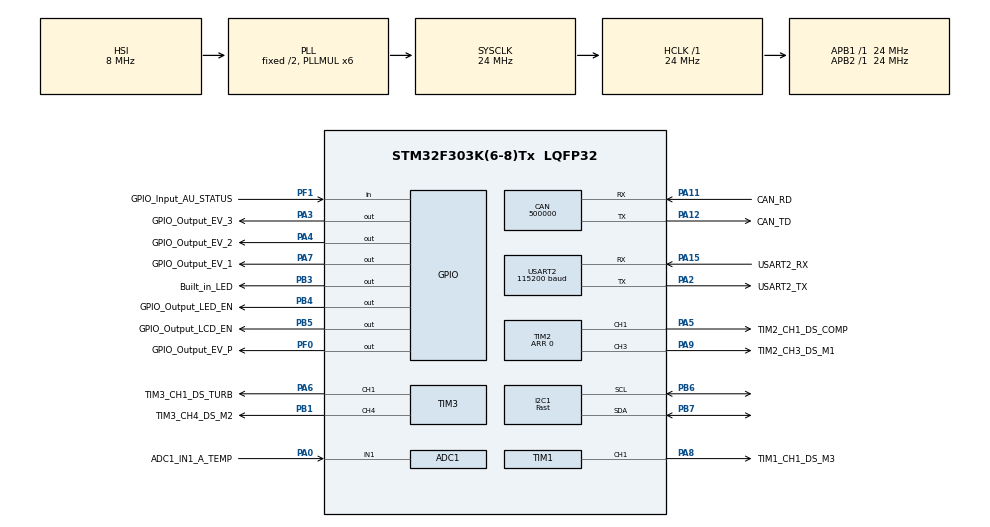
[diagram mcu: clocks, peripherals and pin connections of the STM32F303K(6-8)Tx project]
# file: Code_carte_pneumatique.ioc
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ADC1.Channel-0\#ChannelRegularConversion=ADC_CHANNEL_1
ADC1.NbrOfConversionFlag=1
ADC1.Offset-0\#ChannelRegularConversion=0
ADC1.OffsetNumber-0\#ChannelRegularConversion=ADC_OFFSET_NONE
ADC1.Rank-0\#ChannelRegularConversion=1
ADC1.SamplingTime-0\#ChannelRegularConversion=ADC_SAMPLETIME_1CYCLE_5
ADC1.SamplingTimeOPAMP-0\#ChannelRegularConversion=ADC_SAMPLETIME_19CYCLES_5
ADC1.SubFamily=STM32F303x8
ADC1.master=1
CAN.CalculateBaudRate=500000
CAN.CalculateTimeBit=2000
CAN.CalculateTimeQuantum=666.6666666666666
Dma.Request0=TIM2_CH1
Dma.Request1=TIM2_CH3
Dma.Request2=TIM3_CH1/TRIG
Dma.Request3=TIM3_CH4/UP
Dma.Request4=TIM1_CH1
Dma.TIM1_CH1.4.Direction=DMA_MEMORY_TO_PERIPH
Dma.TIM1_CH1.4.Instance=DMA1_Channel2
Dma.TIM1_CH1.4.MemDataAlignment=DMA_MDATAALIGN_WORD
Dma.TIM1_CH1.4.MemInc=DMA_MINC_ENABLE
Dma.TIM1_CH1.4.Mode=DMA_NORMAL
Dma.TIM1_CH1.4.PeriphDataAlignment=DMA_PDATAALIGN_HALFWORD
Dma.TIM1_CH1.4.PeriphInc=DMA_PINC_DISABLE
Dma.TIM1_CH1.4.Priority=DMA_PRIORITY_HIGH
Dma.TIM2_CH1.0.Direction=DMA_MEMORY_TO_PERIPH
Dma.TIM2_CH1.0.Instance=DMA1_Channel5
Dma.TIM2_CH1.0.MemDataAlignment=DMA_MDATAALIGN_WORD
Dma.TIM2_CH1.0.MemInc=DMA_MINC_ENABLE
Dma.TIM2_CH1.0.Mode=DMA_NORMAL
Dma.TIM2_CH1.0.PeriphDataAlignment=DMA_PDATAALIGN_WORD
Dma.TIM2_CH1.0.PeriphInc=DMA_PINC_DISABLE
Dma.TIM2_CH1.0.Priority=DMA_PRIORITY_HIGH
Dma.TIM2_CH3.1.Direction=DMA_MEMORY_TO_PERIPH
Dma.TIM2_CH3.1.Instance=DMA1_Channel1
Dma.TIM2_CH3.1.MemDataAlignment=DMA_MDATAALIGN_WORD
Dma.TIM2_CH3.1.MemInc=DMA_MINC_ENABLE
Dma.TIM2_CH3.1.Mode=DMA_NORMAL
Dma.TIM2_CH3.1.PeriphDataAlignment=DMA_PDATAALIGN_WORD
Dma.TIM2_CH3.1.PeriphInc=DMA_PINC_DISABLE
Dma.TIM2_CH3.1.Priority=DMA_PRIORITY_HIGH
Dma.TIM3_CH1/TRIG.2.Direction=DMA_MEMORY_TO_PERIPH
Dma.TIM3_CH1/TRIG.2.Instance=DMA1_Channel6
Dma.TIM3_CH1/TRIG.2.MemDataAlignment=DMA_MDATAALIGN_WORD
Dma.TIM3_CH1/TRIG.2.MemInc=DMA_MINC_ENABLE
Dma.TIM3_CH1/TRIG.2.Mode=DMA_NORMAL
Dma.TIM3_CH1/TRIG.2.PeriphDataAlignment=DMA_PDATAALIGN_HALFWORD
Dma.TIM3_CH1/TRIG.2.PeriphInc=DMA_PINC_DISABLE
Dma.TIM3_CH1/TRIG.2.Priority=DMA_PRIORITY_HIGH
Dma.TIM3_CH4/UP.3.Direction=DMA_MEMORY_TO_PERIPH
Dma.TIM3_CH4/UP.3.Instance=DMA1_Channel3
Dma.TIM3_CH4/UP.3.MemDataAlignment=DMA_MDATAALIGN_WORD
Dma.TIM3_CH4/UP.3.MemInc=DMA_MINC_ENABLE
Dma.TIM3_CH4/UP.3.Mode=DMA_NORMAL
Dma.TIM3_CH4/UP.3.PeriphDataAlignment=DMA_PDATAALIGN_HALFWORD
Dma.TIM3_CH4/UP.3.PeriphInc=DMA_PINC_DISABLE
Dma.TIM3_CH4/UP.3.Priority=DMA_PRIORITY_HIGH
I2C1.Analog_Filter=I2C_ANALOGFILTER_DISABLE
I2C1.I2C_Speed_Mode=I2C_Fast
I2C1.Timing=0x0000020C
Mcu.Family=STM32F3
Mcu.Name=STM32F303K(6-8)Tx
Mcu.Package=LQFP32
NVIC.DMA1_Channel1_IRQn=true\:0\:0\:false\:false\:true\:false\:true\:true
NVIC.DMA1_Channel2_IRQn=true\:0\:0\:false\:false\:true\:false\:true\:true
NVIC.DMA1_Channel3_IRQn=true\:0\:0\:false\:false\:true\:false\:true\:true
NVIC.DMA1_Channel5_IRQn=true\:0\:0\:false\:false\:true\:false\:true\:true
NVIC.DMA1_Channel6_IRQn=true\:0\:0\:false\:false\:true\:false\:true\:true
NVIC.PriorityGroup=NVIC_PRIORITYGROUP_4
NVIC.TIM6_DAC1_IRQn=true\:0\:0\:false\:false\:true\:true\:true\:true
NVIC.USART2_IRQn=true\:0\:0\:false\:false\:true\:true\:true\:true
PA0.GPIO_Label=ADC1_IN1_A_TEMP
PA0.Mode=IN1-Single-Ended
PA0.Signal=ADC1_IN1
PA1.GPIO_Label=ADC2_IN_A_PRESS
PA1.Signal=ADC1_IN2
PA11.GPIO_Label=CAN_RD
PA11.Mode=CAN_Activate
PA11.Signal=CAN_RX
PA12.GPIO_Label=CAN_TD
PA12.Mode=CAN_Activate
PA12.Signal=CAN_TX
PA13.GPIO_Label=SWDIO
PA13.Mode=Serial_Wire
PA13.Signal=SYS_JTMS-SWDIO
PA14.GPIO_Label=SWCLK
PA14.Mode=Serial_Wire
PA14.Signal=SYS_JTCK-SWCLK
PA15.GPIO_Label=USART2_RX
PA15.Mode=Asynchronous
PA15.Signal=USART2_RX
PA2.GPIO_Label=USART2_TX
PA2.Mode=Asynchronous
PA2.Signal=USART2_TX
PA3.GPIO_Label=GPIO_Output_EV_3
PA3.Signal=GPIO_Output
PA4.GPIO_Label=GPIO_Output_EV_2
PA4.Signal=GPIO_Output
PA5.GPIO_Label=TIM2_CH1_DS_COMP
PA5.Signal=S_TIM2_CH1_ETR
PA6.GPIO_Label=TIM3_CH1_DS_TURB
PA6.Signal=S_TIM3_CH1
PA7.GPIO_Label=GPIO_Output_EV_1
PA7.Signal=GPIO_Output
PA8.GPIO_Label=TIM1_CH1_DS_M3
PA8.Signal=S_TIM1_CH1
PA9.GPIO_Label=TIM2_CH3_DS_M1
PA9.Signal=S_TIM2_CH3
PB1.GPIO_Label=TIM3_CH4_DS_M2
PB1.Signal=S_TIM3_CH4
PB3.GPIO_Label=Built_in_LED
PB3.Signal=GPIO_Output
PB4.GPIO_Label=GPIO_Output_LED_EN
PB4.Signal=GPIO_Output
PB5.GPIO_Label=GPIO_Output_LCD_EN
PB5.Signal=GPIO_Output
PB6.GPIO_FM6=SYSCFG_CFGR1_I2C_PB6_FMP
PB6.GPIO_Pu=GPIO_NOPULL
PB6.Mode=I2C
PB6.Signal=I2C1_SCL
PB7.GPIO_FM7=SYSCFG_CFGR1_I2C_PB7_FMP
PB7.GPIO_Pu=GPIO_NOPULL
PB7.Mode=I2C
PB7.Signal=I2C1_SDA
PF0\ /\ OSC_IN.GPIO_Label=GPIO_Output_EV_P
PF0\ /\ OSC_IN.Signal=GPIO_Output
PF1\ /\ OSC_OUT.GPIO_Label=GPIO_Input_AU_STATUS
PF1\ /\ OSC_OUT.Signal=GPIO_Input
ProjectManager.HeapSize=0x200
ProjectManager.StackSize=0x400
ProjectManager.TargetToolchain=STM32CubeIDE
RCC.AHBFreq_Value=24000000
RCC.APB1Freq_Value=24000000
RCC.APB1TimFreq_Value=24000000
RCC.APB2Freq_Value=24000000
RCC.APB2TimFreq_Value=24000000
RCC.CortexFreq_Value=24000000
RCC.HCLKFreq_Value=24000000
RCC.HSE_VALUE=8000000
RCC.HSI_VALUE=8000000
RCC.PLLMUL=RCC_PLL_MUL6
RCC.SYSCLKFreq_VALUE=24000000
RCC.SYSCLKSourceVirtual=RCC_SYSCLKSOURCE_PLLCLK
SH.S_TIM1_CH1.0=TIM1_CH1,PWM Generation1 CH1
SH.S_TIM2_CH1_ETR.0=TIM2_CH1,PWM Generation1 CH1
SH.S_TIM2_CH3.0=TIM2_CH3,PWM Generation3 CH3
SH.S_TIM3_CH1.0=TIM3_CH1,PWM Generation1 CH1
SH.S_TIM3_CH4.0=TIM3_CH4,PWM Generation4 CH4
TIM1.Channel-PWM\ Generation1\ CH1=TIM_CHANNEL_1
TIM2.Channel-PWM\ Generation1\ CH1=TIM_CHANNEL_1
TIM2.Channel-PWM\ Generation3\ CH3=TIM_CHANNEL_3
TIM2.Period=0
TIM3.Channel-PWM\ Generation1\ CH1=TIM_CHANNEL_1
TIM3.Channel-PWM\ Generation4\ CH4=TIM_CHANNEL_4
TIM6.Period=24
TIM6.Prescaler=1000
USART2.BaudRate=115200
USART2.VirtualMode-Asynchronous=VM_ASYNC
VP_TIM6_VS_ClockSourceINT.Mode=Enable_Timer
board=NUCLEO-F303K8

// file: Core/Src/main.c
/* USER CODE BEGIN Header */
/**
 ******************************************************************************
 * @file           : main.c
 * @brief          : Main program body
 ******************************************************************************
 * @attention
 *
 * Copyright (c) 2023 STMicroelectronics.
 * All rights reserved.
 *
 * This software is licensed under terms that can be found in the LICENSE file
 * in the root directory of this software component.
 * If no LICENSE file comes with this software, it is provided AS-IS.
 *
 ******************************************************************************
 */
/* USER CODE END Header */
#include "main.h"

/* USER CODE BEGIN Includes */
#include "dshot.h"
/* USER CODE END Includes */

/* USER CODE BEGIN PM */

//Partie moteurs (D-Shot)
#define CANONS_SPEED_1 100
#define CANONS_SPEED_2 300
#define CANONS_SPEED_3 400
#define TURBINE_SPEED_1 100
#define TURBINE_SPEED_2 300
#define TURBINE_SPEED_3 400
#define COMPRESSOR_SPEED 1200
//DSHOT_SPEED effet : change le bitrate du protocole D-Shot (jamais teste autre que 150=150kbits/s)
//autres valeurs existantes : 300, 600, 1200, voir Carte_pneumatique > TOOLS-DOCUMENTATION > DOC >
#define DSHOT_SPEED DSHOT150
//Compresseur : pour le Stop et le start
uint8_t COMPRESSOR_ENABLE = 0;

//Partie Pression
//size of pressure values history buffer : effet : change proportionnellement la rapidite de reponse du moteur du compresseur
#define PRESSURES_SIZE 10
// effet : change la pression de Commande initiale (avant 1ere commande compresseur)
uint8_t Press_order = 0; //en 10e de bar

//Partie electrovannes
#define PULSE_TIME 60 //valeur du pulse des EV (ms)
uint8_t last_EV_command = 0;

//Partie Capteur de Temperature
#define COMPR_CRIT_TEMP 60 //a modifier en fonction du systeme (position de la sonde PT100)
#define TEMPERATURES_SIZE 10

//Partie timer global pour tempo AU => purge
int BAU_tick;
uint8_t BAU_tick_enable = 0;

//Partie Prematch et premiere init, a suppr quand pneuma faite
uint8_t prematch_init = 0;

//Partie commandes et retours Rpi
//On teste un ring buffer
#define RING_BUF_SIZE 25
uint8_t r_buf_length;
uint8_t write_index;
uint8_t read_index;

uint8_t commands_buffer[RING_BUF_SIZE];

void write_r_buffer(uint8_t * r_buf, uint8_t command){
	if (r_buf_length == RING_BUF_SIZE){}
	else {
		r_buf[write_index] = command;
		write_index++;
		r_buf_length++;
	}
	if (write_index == RING_BUF_SIZE){
		write_index = 0;
	}
}

uint8_t read_r_buffer(uint8_t * r_buf){
	uint8_t val;
	if (r_buf_length == 0){return -1;}
	else {
		val = r_buf[read_index];
		read_index++;
		r_buf_length--;
	}
	if (read_index == RING_BUF_SIZE){
		read_index = 0;
	}
	return val;
}

uint8_t command_buffer = 0; // Signal commande Rpi -> Nucleo, pas de log pour l'instant donc taille de 1
uint8_t return_buffer[2]; //infos retournee Nucleo -> Rpi
HAL_StatusTypeDef res1;
HAL_StatusTypeDef res2;

/* USER CODE END PM */

ADC_HandleTypeDef hadc1;

CAN_HandleTypeDef hcan;

I2C_HandleTypeDef hi2c1;

TIM_HandleTypeDef htim1;
TIM_HandleTypeDef htim2;
TIM_HandleTypeDef htim3;
TIM_HandleTypeDef htim6;
DMA_HandleTypeDef hdma_tim1_ch1;
DMA_HandleTypeDef hdma_tim2_ch1;
DMA_HandleTypeDef hdma_tim2_ch3;
DMA_HandleTypeDef hdma_tim3_ch1_trig;
DMA_HandleTypeDef hdma_tim3_ch4_up;

UART_HandleTypeDef huart2;

void SystemClock_Config(void);
static void MX_GPIO_Init(void);
static void MX_DMA_Init(void);
static void MX_USART2_UART_Init(void);
static void MX_TIM2_Init(void);
static void MX_TIM6_Init(void);
static void MX_TIM3_Init(void);
static void MX_TIM1_Init(void);
static void MX_I2C1_Init(void);
static void MX_CAN_Init(void);
static void MX_ADC1_Init(void);

/* USER CODE BEGIN 0 */

//Partie D-Shot
uint16_t my_motor_value[5] = {0, 0, 0, 0, 0};

//Partie UART en interrupt
void HAL_UART_RxCpltCallback(UART_HandleTypeDef *huart)
{
	write_r_buffer(commands_buffer, command_buffer);
	res1=HAL_UART_Receive_IT(&huart2, &command_buffer, 1);
}

/* USER CODE END 0 */

int main(void)
{
  /* USER CODE BEGIN 1 */

	//Partie lecture des capteurs
	uint8_t I2C_buf[4]; //Infos I2C : P_sensor (4 bytes) ou T_sensor_Comp (?? bytes)
	// uint8_t p_buf[4]; //Pression P_sensor (2 bytes) et temperature P_sensor (2 bytes)
	//garder les logs des commandes

	//partie Capteur de Pression
	//modele : 2513130810401
	float pressure_val;
	//SENP:  Pressure sensor sensitivity : 4.196 ×10-2
	float SENP = 0.04196;
	//PMIN: Min Pressure output : -100 kPa
	int Pmin = -100;
	//OUTP_MIN: digital output at Pmin = 3277
	float OUT_Pmin = 3277;
	//P15bit = PH & PL
	float P15bit;
	//tableaux des 100 dernieres valeurs de pression, toutes les valeurs initialisees a 0
	uint8_t pressures[PRESSURES_SIZE] = {0};
	//valeur pour remplir le tableau des valeurs de pressions avant de calculer la moyennes des pressions
	uint32_t pressures_mean = 0;

	//Partie capteur de temperature du compresseur
	uint16_t raw;
	float compr_temp;
	uint8_t temperatures[TEMPERATURES_SIZE] = {0};
	uint8_t temperatures_mean = 0;

	// explication de la conversion des valeurs de l'ADC en temperature
	// dans le fichier "Equation_Sonde_PT100, il y a 2 courbes, ces coeffs sont respectivement les pentes et les ordonnees a l'origine
	// raw = valeur numerique renvoyee par l'ADC
	// methode de calibration sonde PT100 : mesure resistance et raw a 22°   &   mesure resistance et raw a 100° (pistolet a air chaud devant la PT100)
	float raw_to_res_mult = 0.0393;
	float raw_to_res_offset = -2.47;
	float res_to_temp_mult = -0.74;
	float res_to_temp_offset = 104;

	//Partie Arrêt d'urgence
	uint8_t AU_Current_Status = GPIO_PIN_RESET;
	uint8_t AU_Old_Status = GPIO_PIN_RESET;

  /* USER CODE END 1 */

  /* MCU Configuration--------------------------------------------------------*/

  /* Reset of all peripherals, Initializes the Flash interface and the Systick. */
  HAL_Init();

  /* Configure the system clock */
  SystemClock_Config();

  /* Initialize all configured peripherals */
  MX_GPIO_Init();
  MX_DMA_Init();
  MX_USART2_UART_Init();
  MX_TIM2_Init();
  MX_TIM6_Init();
  MX_TIM3_Init();
  MX_TIM1_Init();
  MX_I2C1_Init();
  MX_CAN_Init();
  MX_ADC1_Init();
  /* USER CODE BEGIN 2 */

	dshot_init(DSHOT_SPEED);
	//Initialization Des ESC des moteurs ET TOUT LE RESTE
	my_motor_value[0] = 0;
	my_motor_value[1] = 0;
	my_motor_value[2] = 0;
	my_motor_value[3] = 0;
	my_motor_value[4] = 0;
	HAL_GPIO_WritePin(GPIOA, GPIO_PIN_7, GPIO_PIN_RESET);
	HAL_GPIO_WritePin(GPIOA, GPIO_PIN_4, GPIO_PIN_RESET);
	HAL_GPIO_WritePin(GPIOA, GPIO_PIN_3, GPIO_PIN_RESET);
	HAL_GPIO_WritePin(GPIOF, GPIO_PIN_0, GPIO_PIN_RESET);
	//start to count (for tim6 interruption)
	HAL_TIM_Base_Start_IT(&htim6);
	//a peu pres temps minimal de delay pour laisser le temps aux moteurs de s'initialiser
	HAL_Delay(2600);
	//On lance l'interruption sur l'UART2, a relancer dans le callback !
	res1=HAL_UART_Receive_IT(&huart2, &command_buffer, 1);

  /* USER CODE END 2 */

  /* Infinite loop */
  /* USER CODE BEGIN WHILE */
	while (1)
	{
		//Partie AU : recuperation du state de l'AU
		AU_Current_Status = HAL_GPIO_ReadPin(GPIOF, GPIO_PIN_1);

		//res1=HAL_UART_Receive(&huart2, &command_buffer, 1, 100);

		//Partie Reset_small : Reset de tout lorsque l'AU repasse a l'etat haut (non coupe) alors qu'il etait a l'etat bas (coupe) juste avant
		if ((AU_Current_Status == GPIO_PIN_RESET) && AU_Old_Status == GPIO_PIN_SET){
			// arrêt moteurs (compr, canons, turbine)
			my_motor_value[0] = 0;
			my_motor_value[1] = 0;
			my_motor_value[2] = 0;
			my_motor_value[3] = 0;
			my_motor_value[4] = 0;
			HAL_Delay(2600);
			// arrêt EV 1, 2, 3 et Purge
			HAL_GPIO_WritePin(GPIOA, GPIO_PIN_7, GPIO_PIN_RESET);
			HAL_GPIO_WritePin(GPIOA, GPIO_PIN_4, GPIO_PIN_RESET);
			HAL_GPIO_WritePin(GPIOA, GPIO_PIN_3, GPIO_PIN_RESET);
			HAL_GPIO_WritePin(GPIOF, GPIO_PIN_0, GPIO_PIN_RESET);
			// arrêt LCD et LED Enable
			//HAL_GPIO_WritePin(GPIOB, GPIO_PIN_5, GPIO_PIN_RESET); commente car LCD pulse, a voir si c'est la source du probleme
			//HAL_GPIO_WritePin(GPIOB, GPIO_PIN_4, GPIO_PIN_RESET); commente car LED pulsent, a voir si c'est la source du probeme
			// reset la regulation de pression
			Press_order = 0;
			//reset le timer de purge
			BAU_tick = 0;
			BAU_tick_enable = 0;
		}

		//Partie Reset_Full : Si l'AU passe a l'etat bas (coupe) alors qu'il etait a l'etat haut (non coupe), reset tout et lancer un timer de 2 minutes, au bout duquel on purge !
		if (AU_Current_Status == GPIO_PIN_SET && AU_Old_Status == GPIO_PIN_RESET){
			// arrêt moteurs (compr, canons, turbine)
			my_motor_value[0] = 0;
			my_motor_value[1] = 0;
			my_motor_value[2] = 0;
			my_motor_value[3] = 0;
			my_motor_value[4] = 0;
			// arrêt EV 1, 2, 3 et Purge
			HAL_GPIO_WritePin(GPIOA, GPIO_PIN_7, GPIO_PIN_RESET);
			HAL_GPIO_WritePin(GPIOA, GPIO_PIN_4, GPIO_PIN_RESET);
			HAL_GPIO_WritePin(GPIOA, GPIO_PIN_3, GPIO_PIN_RESET);
			HAL_GPIO_WritePin(GPIOF, GPIO_PIN_0, GPIO_PIN_RESET);
			// arrêt LCD et LED Enable
			HAL_GPIO_WritePin(GPIOB, GPIO_PIN_5, GPIO_PIN_RESET);
			HAL_GPIO_WritePin(GPIOB, GPIO_PIN_4, GPIO_PIN_RESET);
			// reset la regulation de pression
			Press_order = 0;
			// tempo de 2 min, puis purge
			BAU_tick_enable = 1;
		}
		//changer les valeurs des AU status
		AU_Old_Status = AU_Current_Status;

		//Lecture de la pression en I2C et activation OU NON du compresseur en fonction
		res2 = HAL_I2C_Master_Receive(&hi2c1, 0xf1, I2C_buf, 4, 200);
		if (res2 == HAL_OK){
			//Regulation Pression
			//Calcul de la pression en 10emes de bar RELATIFS
			//voir infos_pressure_sensor plus haut pour infos sur variables
			P15bit = (int)((I2C_buf[0] << 8)|I2C_buf[1]);
			//formule d'apres la datasheet du capteur : pressure_val = [(P15bit - OUTP_MIN)*SENP)] + PMIN;
			//Conversion en 10emes de bar a la fin
			pressure_val = P15bit - OUT_Pmin; //2383
			pressure_val = pressure_val*SENP; //99.99068
			pressure_val = pressure_val + Pmin; // -0,00932
			pressure_val = pressure_val * 0.1; // -0,000932

			//calcul de la moyenne de toutes les pressions precedentes
			//on decale tout le tableau vers la droite, en faisant donc disparaître la valeur la plus ancienne
			for (int i = PRESSURES_SIZE-1; i > 0; i--){
				pressures[i] = pressures[i-1];
			}
			//On ajoute la nouvelle valeure
			pressures[0] = (int)pressure_val;

			//puis on fait la moyenne des pressions
			for (int i = 0; i < PRESSURES_SIZE; i++){
				pressures_mean+=pressures[i];
			}
			pressures_mean/=PRESSURES_SIZE;

			if (pressures_mean > (Press_order)){ // arrêter compresseur si depassement de la pression de consigne
				my_motor_value[4] = 0;
			}
			else if (pressures_mean < (Press_order - 2)) { // demarrage compresseur avec hysteresis de 0.2 bar
				if(Press_order >= 0 && COMPRESSOR_ENABLE){
					my_motor_value[4] = COMPRESSOR_SPEED;
				}
				else {}
			}
			else {}

			//on remet a 0 la moyenne des pressions
			pressures_mean = 0;
		}

		//Lecture Temperature du compresseur reservoir (sonde PT100) et activation ou desactivation du compresseur en fonction SSI il est pas deja desactive
		//start an ADC conversion
		HAL_ADC_Start(&hadc1);
		//processor waits for an ADC conversion to complete
		HAL_ADC_PollForConversion(&hadc1, HAL_MAX_DELAY);
		//get raw value from the ADC channel register
		raw = HAL_ADC_GetValue(&hadc1);

		//get temperature value from raw value (100-Ohm = 0°C, 375-Ohm = 800°C)
		//first : conversion from raw value to resistance value : 2790=>112 kOhm, 90=>6 kOhm
		//then : conversion from resistance value to temperature value :  112 kOhm=>22 °c, 6 kOhm=>100°c
		compr_temp = res_to_temp_mult * (raw_to_res_mult * raw + raw_to_res_offset) + res_to_temp_offset;

		//si Temperature critique, arrêter le compresseur et notifier la temperature critique dans le retour a la Rpi
		//on decale tout le tableau vers la droite, en faisant donc disparaître la valeur la plus ancienne
		for (int i = TEMPERATURES_SIZE-1; i > 0; i--){
			temperatures[i] = temperatures[i-1];
		}

		//On ajoute la nouvelle valeure
		temperatures[0] = compr_temp;

		//puis on fait la moyenne des pressions
		for (int i = 0; i < TEMPERATURES_SIZE; i++){
			temperatures_mean+=temperatures[i];
		}
		temperatures_mean /= TEMPERATURES_SIZE;

		//arrêt compresseur si depassement de la temperature critique
		if (temperatures_mean > COMPR_CRIT_TEMP) {
			my_motor_value[4] = 0;
			Press_order = 0;
		}

		//Notifier a la Rpi la bonne reception du mot de commande
		return_buffer[0]|= 1;
		//Retourner les infos a la Rpi !
		HAL_UART_Transmit(&huart2, return_buffer, 1, 100);
		uint8_t command = read_r_buffer(commands_buffer);
		if(command != -1){
			switch(command >> 6){
			case 0:
				//Mode 1 [00000001] : Reset nucleo: arrêt de TOUT
				if (command == 1){
					// arrêt moteurs (compr, canons, turbine)
					my_motor_value[0] = 0;
					my_motor_value[1] = 0;
					my_motor_value[2] = 0;
					my_motor_value[3] = 0;
					my_motor_value[4] = 0;
					// arrêt EV 1, 2, 3 et Purge
					HAL_GPIO_WritePin(GPIOA, GPIO_PIN_7, GPIO_PIN_RESET);
					HAL_GPIO_WritePin(GPIOA, GPIO_PIN_4, GPIO_PIN_RESET);
					HAL_GPIO_WritePin(GPIOA, GPIO_PIN_3, GPIO_PIN_RESET);
					HAL_GPIO_WritePin(GPIOF, GPIO_PIN_0, GPIO_PIN_SET);
					// arrêt LCD et LED Enable
					//HAL_GPIO_WritePin(GPIOB, GPIO_PIN_5, GPIO_PIN_RESET); commente car LCD pulsent, a voir si c'est la source du probleme
					//HAL_GPIO_WritePin(GPIOB, GPIO_PIN_4, GPIO_PIN_RESET); commente car LED pulsent, a voir si c'est la source du probleme
				}
				//Mode 2 [00000010] : Reset Moteurs
				else if (command == 2){
					my_motor_value[0] = 0;
					my_motor_value[1] = 0;
					my_motor_value[2] = 0;
					my_motor_value[3] = 0;
					my_motor_value[4] = 0;
					HAL_Delay(2600);
				}

				break;
			case 1:
				//Mode 2 [01]: Canons
				//ordre des canons : left=1 - right=2 - top=3
				//ecriture dans le moteur 1 (left)
				if ((command & 48) >> 4 == 0){
					my_motor_value[0] = 0;
				}
				else if ((command & 48) >> 4 == 1){
					my_motor_value[0] = CANONS_SPEED_1;
				}
				else if ((command & 48) >> 4 == 2){
					my_motor_value[0] = CANONS_SPEED_2;
				}
				else{
					my_motor_value[0] = CANONS_SPEED_3;
				}

				//ecriture dans le moteur 2 (right)
				if ((command & 12) >> 2 == 0){
					my_motor_value[1] = 0;
				}
				else if ((command & 12) >> 2 == 1){
					my_motor_value[1] = CANONS_SPEED_1;
				}
				else if ((command & 12) >> 2 == 2){
					my_motor_value[1] = CANONS_SPEED_2;
				}
				else{
					my_motor_value[1] = CANONS_SPEED_3;
				}

				//ecriture dans le moteur 3 (top)
				if ((command & 3) == 0){
					my_motor_value[2] = 0;
				}
				else if ((command & 3) == 1){
					my_motor_value[2] = CANONS_SPEED_1;
				}
				else if ((command & 3) == 2){
					my_motor_value[2] = CANONS_SPEED_2;
				}
				else{
					my_motor_value[2] = CANONS_SPEED_3;
				}

				break;
			case 2:
				//Mode 3 [10]: Compresseur / INIT
				//[10000001] : arrêt Compresseur + Consigne Pression => 0 + Purge EV4
				if ((command ^ 129) <= 1){
					my_motor_value[4] = 0;
					HAL_GPIO_WritePin(GPIOF, GPIO_PIN_0, command ^ 128);
					Press_order = 0;
					COMPRESSOR_ENABLE = 0;
				}
				else{
					if (prematch_init == 0){
						my_motor_value[0] = 0;
						my_motor_value[1] = 0;
						my_motor_value[2] = 0;
						my_motor_value[3] = 0;
						my_motor_value[4] = 0;
						HAL_Delay(2600);
						prematch_init = 1;
					}
					//[10PPPPPP] : Val de consigne Pression, a recup SSI differente pour regulation au prochain tour de boucle
					Press_order = command ^ (2 << 6);
					COMPRESSOR_ENABLE = 1;
				}

				break;
			case 3:
				//Mode 4 [11]: electrovannes OU LED OU Turbine OU LCD
				//cas 1 : Electrovannes
				if ((command & 240) >> 4 == 12){
					//4*1 bits(ABCE) pour les EV (ordre du code : A: EV1<->PA7, B: EV2<->PA4, C: EV3<->PA3, E: EV_Purge<->PF0)
					HAL_GPIO_WritePin (GPIOA, GPIO_PIN_7, (command & 0x08) >> 3);
					HAL_GPIO_WritePin (GPIOA, GPIO_PIN_4, (command & 0x04) >> 2);
					HAL_GPIO_WritePin (GPIOA, GPIO_PIN_3, (command & 0x02) >> 1);
					HAL_GPIO_WritePin (GPIOF, GPIO_PIN_0, command & 0x01);
				}

				//cas 2 : EV-Pulse [1101000Z] => [0] : rien, [1] pulse ON-OFF-ON 1*, avec intervalle t-pulse_OFF
				if ((command & 240) >> 4 == 13){

					//Pulse EV 1
					if ((command & 8) >> 3 == 1 && HAL_GPIO_ReadPin(GPIOA, GPIO_PIN_7)){
						HAL_GPIO_WritePin(GPIOA, GPIO_PIN_7, GPIO_PIN_RESET);
						HAL_Delay(PULSE_TIME);
						HAL_GPIO_WritePin(GPIOA, GPIO_PIN_7, GPIO_PIN_SET);
					}
					//Pulse EV 2
					if ((command & 4) >> 2 == 1 && HAL_GPIO_ReadPin(GPIOA, GPIO_PIN_4)){
						HAL_GPIO_WritePin(GPIOA, GPIO_PIN_4, GPIO_PIN_RESET);
						HAL_Delay(PULSE_TIME);
						HAL_GPIO_WritePin(GPIOA, GPIO_PIN_4, GPIO_PIN_SET);
					}
					//Pulse EV 3
					if ((command & 2) >> 1 == 1 && HAL_GPIO_ReadPin(GPIOA, GPIO_PIN_3)){
						HAL_GPIO_WritePin(GPIOA, GPIO_PIN_3, GPIO_PIN_RESET);
						HAL_Delay(PULSE_TIME);
						HAL_GPIO_WritePin(GPIOA, GPIO_PIN_3, GPIO_PIN_SET);
					}
				}

				//cas 3 : Turbine [111000ZZ] (arrêt: [00], vitesse_1: [01], vitesse_2: [10], vitesse_3: [11])
				else if ((command & 240) >> 4 == 14){
					//ecriture valeurs dans moteur Turbine
					if ((command & 3) == 0){
						my_motor_value[3] = 0;
					}
					else if ((command & 3) == 1){
						my_motor_value[3] = TURBINE_SPEED_1;
					}
					else if ((command & 3) == 2){
						my_motor_value[3] = TURBINE_SPEED_2;
					}
					else{
						my_motor_value[3] = TURBINE_SPEED_3;
					}
				}

				//cas 4 : LCD/LED [111100YZ] => Y==0: LCD_reset/LED_reset, Z==1: LCD_set/LED_set
				else if ((command & 240) >> 4 == 15 && (command != 255)){
					//LCD
					if ((command & 2) >> 1 == 1) {
						HAL_GPIO_WritePin(GPIOB, GPIO_PIN_5, GPIO_PIN_SET);
					}
					else { HAL_GPIO_WritePin(GPIOB, GPIO_PIN_5, GPIO_PIN_RESET); }
					//HAL_GPIO_WritePin(GPIOB, GPIO_PIN_5, command & 2); commente car pas fou pareil que LED

					//LED
					if ((command & 1) == 1){
						HAL_GPIO_WritePin(GPIOB, GPIO_PIN_4, GPIO_PIN_SET);
					}
					else {
						HAL_GPIO_WritePin(GPIOB, GPIO_PIN_4, GPIO_PIN_RESET);
					}
					//HAL_GPIO_WritePin(GPIOB, GPIO_PIN_4, command & 1); commente car LED pulsent, a voir si c'est la source du probleme
				}
				break;
			}

		}

		HAL_Delay(1);

    /* USER CODE END WHILE */

	}
}

void SystemClock_Config(void)
{
  RCC_OscInitTypeDef RCC_OscInitStruct = {0};
  RCC_ClkInitTypeDef RCC_ClkInitStruct = {0};
  RCC_PeriphCLKInitTypeDef PeriphClkInit = {0};

  /** Initializes the RCC Oscillators according to the specified parameters
  * in the RCC_OscInitTypeDef structure.
  */
  RCC_OscInitStruct.OscillatorType = RCC_OSCILLATORTYPE_HSI;
  RCC_OscInitStruct.HSIState = RCC_HSI_ON;
  RCC_OscInitStruct.HSICalibrationValue = RCC_HSICALIBRATION_DEFAULT;
  RCC_OscInitStruct.PLL.PLLState = RCC_PLL_ON;
  RCC_OscInitStruct.PLL.PLLSource = RCC_PLLSOURCE_HSI;
  RCC_OscInitStruct.PLL.PLLMUL = RCC_PLL_MUL6;
  if (HAL_RCC_OscConfig(&RCC_OscInitStruct) != HAL_OK)
  {
    Error_Handler();
  }

  /** Initializes the CPU, AHB and APB buses clocks
  */
  RCC_ClkInitStruct.ClockType = RCC_CLOCKTYPE_HCLK|RCC_CLOCKTYPE_SYSCLK
                              |RCC_CLOCKTYPE_PCLK1|RCC_CLOCKTYPE_PCLK2;
  RCC_ClkInitStruct.SYSCLKSource = RCC_SYSCLKSOURCE_PLLCLK;
  RCC_ClkInitStruct.AHBCLKDivider = RCC_SYSCLK_DIV1;
  RCC_ClkInitStruct.APB1CLKDivider = RCC_HCLK_DIV1;
  RCC_ClkInitStruct.APB2CLKDivider = RCC_HCLK_DIV1;

  if (HAL_RCC_ClockConfig(&RCC_ClkInitStruct, FLASH_LATENCY_0) != HAL_OK)
  {
    Error_Handler();
  }
  PeriphClkInit.PeriphClockSelection = RCC_PERIPHCLK_I2C1|RCC_PERIPHCLK_TIM1
                              |RCC_PERIPHCLK_ADC12;
  PeriphClkInit.Adc12ClockSelection = RCC_ADC12PLLCLK_DIV1;
  PeriphClkInit.I2c1ClockSelection = RCC_I2C1CLKSOURCE_HSI;
  PeriphClkInit.Tim1ClockSelection = RCC_TIM1CLK_HCLK;
  if (HAL_RCCEx_PeriphCLKConfig(&PeriphClkInit) != HAL_OK)
  {
    Error_Handler();
  }
}

static void MX_ADC1_Init(void)
{

  ADC_MultiModeTypeDef multimode = {0};
  ADC_ChannelConfTypeDef sConfig = {0};

  /** Common config
  */
  hadc1.Instance = ADC1;
  hadc1.Init.ClockPrescaler = ADC_CLOCK_ASYNC_DIV1;
  hadc1.Init.Resolution = ADC_RESOLUTION_12B;
  hadc1.Init.ScanConvMode = ADC_SCAN_DISABLE;
  hadc1.Init.ContinuousConvMode = DISABLE;
  hadc1.Init.DiscontinuousConvMode = DISABLE;
  hadc1.Init.ExternalTrigConvEdge = ADC_EXTERNALTRIGCONVEDGE_NONE;
  hadc1.Init.ExternalTrigConv = ADC_SOFTWARE_START;
  hadc1.Init.DataAlign = ADC_DATAALIGN_RIGHT;
  hadc1.Init.NbrOfConversion = 1;
  hadc1.Init.DMAContinuousRequests = DISABLE;
  hadc1.Init.EOCSelection = ADC_EOC_SINGLE_CONV;
  hadc1.Init.LowPowerAutoWait = DISABLE;
  hadc1.Init.Overrun = ADC_OVR_DATA_OVERWRITTEN;
  if (HAL_ADC_Init(&hadc1) != HAL_OK)
  {
    Error_Handler();
  }

  /** Configure the ADC multi-mode
  */
  multimode.Mode = ADC_MODE_INDEPENDENT;
  if (HAL_ADCEx_MultiModeConfigChannel(&hadc1, &multimode) != HAL_OK)
  {
    Error_Handler();
  }

  /** Configure Regular Channel
  */
  sConfig.Channel = ADC_CHANNEL_1;
  sConfig.Rank = ADC_REGULAR_RANK_1;
  sConfig.SingleDiff = ADC_SINGLE_ENDED;
  sConfig.SamplingTime = ADC_SAMPLETIME_1CYCLE_5;
  sConfig.OffsetNumber = ADC_OFFSET_NONE;
  sConfig.Offset = 0;
  if (HAL_ADC_ConfigChannel(&hadc1, &sConfig) != HAL_OK)
  {
    Error_Handler();
  }

}

static void MX_CAN_Init(void)
{

  hcan.Instance = CAN;
  hcan.Init.Prescaler = 16;
  hcan.Init.Mode = CAN_MODE_NORMAL;
  hcan.Init.SyncJumpWidth = CAN_SJW_1TQ;
  hcan.Init.TimeSeg1 = CAN_BS1_1TQ;
  hcan.Init.TimeSeg2 = CAN_BS2_1TQ;
  hcan.Init.TimeTriggeredMode = DISABLE;
  hcan.Init.AutoBusOff = DISABLE;
  hcan.Init.AutoWakeUp = DISABLE;
  hcan.Init.AutoRetransmission = DISABLE;
  hcan.Init.ReceiveFifoLocked = DISABLE;
  hcan.Init.TransmitFifoPriority = DISABLE;
  if (HAL_CAN_Init(&hcan) != HAL_OK)
  {
    Error_Handler();
  }

}

static void MX_I2C1_Init(void)
{

  hi2c1.Instance = I2C1;
  hi2c1.Init.Timing = 0x0000020C;
  hi2c1.Init.OwnAddress1 = 0;
  hi2c1.Init.AddressingMode = I2C_ADDRESSINGMODE_7BIT;
  hi2c1.Init.DualAddressMode = I2C_DUALADDRESS_DISABLE;
  hi2c1.Init.OwnAddress2 = 0;
  hi2c1.Init.OwnAddress2Masks = I2C_OA2_NOMASK;
  hi2c1.Init.GeneralCallMode = I2C_GENERALCALL_DISABLE;
  hi2c1.Init.NoStretchMode = I2C_NOSTRETCH_DISABLE;
  if (HAL_I2C_Init(&hi2c1) != HAL_OK)
  {
    Error_Handler();
  }

  /** Configure Analogue filter
  */
  if (HAL_I2CEx_ConfigAnalogFilter(&hi2c1, I2C_ANALOGFILTER_DISABLE) != HAL_OK)
  {
    Error_Handler();
  }

  /** Configure Digital filter
  */
  if (HAL_I2CEx_ConfigDigitalFilter(&hi2c1, 0) != HAL_OK)
  {
    Error_Handler();
  }

}

static void MX_TIM1_Init(void)
{

  TIM_MasterConfigTypeDef sMasterConfig = {0};
  TIM_OC_InitTypeDef sConfigOC = {0};
  TIM_BreakDeadTimeConfigTypeDef sBreakDeadTimeConfig = {0};

  htim1.Instance = TIM1;
  htim1.Init.Prescaler = 0;
  htim1.Init.CounterMode = TIM_COUNTERMODE_UP;
  htim1.Init.Period = 65535;
  htim1.Init.ClockDivision = TIM_CLOCKDIVISION_DIV1;
  htim1.Init.RepetitionCounter = 0;
  htim1.Init.AutoReloadPreload = TIM_AUTORELOAD_PRELOAD_DISABLE;
  if (HAL_TIM_PWM_Init(&htim1) != HAL_OK)
  {
    Error_Handler();
  }
  sMasterConfig.MasterOutputTrigger = TIM_TRGO_RESET;
  sMasterConfig.MasterOutputTrigger2 = TIM_TRGO2_RESET;
  sMasterConfig.MasterSlaveMode = TIM_MASTERSLAVEMODE_DISABLE;
  if (HAL_TIMEx_MasterConfigSynchronization(&htim1, &sMasterConfig) != HAL_OK)
  {
    Error_Handler();
  }
  sConfigOC.OCMode = TIM_OCMODE_PWM1;
  sConfigOC.Pulse = 0;
  sConfigOC.OCPolarity = TIM_OCPOLARITY_HIGH;
  sConfigOC.OCNPolarity = TIM_OCNPOLARITY_HIGH;
  sConfigOC.OCFastMode = TIM_OCFAST_DISABLE;
  sConfigOC.OCIdleState = TIM_OCIDLESTATE_RESET;
  sConfigOC.OCNIdleState = TIM_OCNIDLESTATE_RESET;
  if (HAL_TIM_PWM_ConfigChannel(&htim1, &sConfigOC, TIM_CHANNEL_1) != HAL_OK)
  {
    Error_Handler();
  }
  sBreakDeadTimeConfig.OffStateRunMode = TIM_OSSR_DISABLE;
  sBreakDeadTimeConfig.OffStateIDLEMode = TIM_OSSI_DISABLE;
  sBreakDeadTimeConfig.LockLevel = TIM_LOCKLEVEL_OFF;
  sBreakDeadTimeConfig.DeadTime = 0;
  sBreakDeadTimeConfig.BreakState = TIM_BREAK_DISABLE;
  sBreakDeadTimeConfig.BreakPolarity = TIM_BREAKPOLARITY_HIGH;
  sBreakDeadTimeConfig.BreakFilter = 0;
  sBreakDeadTimeConfig.Break2State = TIM_BREAK2_DISABLE;
  sBreakDeadTimeConfig.Break2Polarity = TIM_BREAK2POLARITY_HIGH;
  sBreakDeadTimeConfig.Break2Filter = 0;
  sBreakDeadTimeConfig.AutomaticOutput = TIM_AUTOMATICOUTPUT_DISABLE;
  if (HAL_TIMEx_ConfigBreakDeadTime(&htim1, &sBreakDeadTimeConfig) != HAL_OK)
  {
    Error_Handler();
  }
  HAL_TIM_MspPostInit(&htim1);

}

static void MX_TIM2_Init(void)
{

  TIM_MasterConfigTypeDef sMasterConfig = {0};
  TIM_OC_InitTypeDef sConfigOC = {0};

  htim2.Instance = TIM2;
  htim2.Init.Prescaler = 0;
  htim2.Init.CounterMode = TIM_COUNTERMODE_UP;
  htim2.Init.Period = 0;
  htim2.Init.ClockDivision = TIM_CLOCKDIVISION_DIV1;
  htim2.Init.AutoReloadPreload = TIM_AUTORELOAD_PRELOAD_DISABLE;
  if (HAL_TIM_PWM_Init(&htim2) != HAL_OK)
  {
    Error_Handler();
  }
  sMasterConfig.MasterOutputTrigger = TIM_TRGO_RESET;
  sMasterConfig.MasterSlaveMode = TIM_MASTERSLAVEMODE_DISABLE;
  if (HAL_TIMEx_MasterConfigSynchronization(&htim2, &sMasterConfig) != HAL_OK)
  {
    Error_Handler();
  }
  sConfigOC.OCMode = TIM_OCMODE_PWM1;
  sConfigOC.Pulse = 0;
  sConfigOC.OCPolarity = TIM_OCPOLARITY_HIGH;
  sConfigOC.OCFastMode = TIM_OCFAST_DISABLE;
  if (HAL_TIM_PWM_ConfigChannel(&htim2, &sConfigOC, TIM_CHANNEL_1) != HAL_OK)
  {
    Error_Handler();
  }
  if (HAL_TIM_PWM_ConfigChannel(&htim2, &sConfigOC, TIM_CHANNEL_3) != HAL_OK)
  {
    Error_Handler();
  }
  HAL_TIM_MspPostInit(&htim2);

}

static void MX_TIM3_Init(void)
{

  TIM_MasterConfigTypeDef sMasterConfig = {0};
  TIM_OC_InitTypeDef sConfigOC = {0};

  htim3.Instance = TIM3;
  htim3.Init.Prescaler = 0;
  htim3.Init.CounterMode = TIM_COUNTERMODE_UP;
  htim3.Init.Period = 65535;
  htim3.Init.ClockDivision = TIM_CLOCKDIVISION_DIV1;
  htim3.Init.AutoReloadPreload = TIM_AUTORELOAD_PRELOAD_DISABLE;
  if (HAL_TIM_PWM_Init(&htim3) != HAL_OK)
  {
    Error_Handler();
  }
  sMasterConfig.MasterOutputTrigger = TIM_TRGO_RESET;
  sMasterConfig.MasterSlaveMode = TIM_MASTERSLAVEMODE_DISABLE;
  if (HAL_TIMEx_MasterConfigSynchronization(&htim3, &sMasterConfig) != HAL_OK)
  {
    Error_Handler();
  }
  sConfigOC.OCMode = TIM_OCMODE_PWM1;
  sConfigOC.Pulse = 0;
  sConfigOC.OCPolarity = TIM_OCPOLARITY_HIGH;
  sConfigOC.OCFastMode = TIM_OCFAST_DISABLE;
  if (HAL_TIM_PWM_ConfigChannel(&htim3, &sConfigOC, TIM_CHANNEL_1) != HAL_OK)
  {
    Error_Handler();
  }
  if (HAL_TIM_PWM_ConfigChannel(&htim3, &sConfigOC, TIM_CHANNEL_4) != HAL_OK)
  {
    Error_Handler();
  }
  HAL_TIM_MspPostInit(&htim3);

}

static void MX_TIM6_Init(void)
{

  TIM_MasterConfigTypeDef sMasterConfig = {0};

  htim6.Instance = TIM6;
  htim6.Init.Prescaler = 1000;
  htim6.Init.CounterMode = TIM_COUNTERMODE_UP;
  htim6.Init.Period = 24;
  htim6.Init.AutoReloadPreload = TIM_AUTORELOAD_PRELOAD_DISABLE;
  if (HAL_TIM_Base_Init(&htim6) != HAL_OK)
  {
    Error_Handler();
  }
  sMasterConfig.MasterOutputTrigger = TIM_TRGO_RESET;
  sMasterConfig.MasterSlaveMode = TIM_MASTERSLAVEMODE_DISABLE;
  if (HAL_TIMEx_MasterConfigSynchronization(&htim6, &sMasterConfig) != HAL_OK)
  {
    Error_Handler();
  }

}

static void MX_USART2_UART_Init(void)
{

  huart2.Instance = USART2;
  huart2.Init.BaudRate = 115200;
  huart2.Init.WordLength = UART_WORDLENGTH_8B;
  huart2.Init.StopBits = UART_STOPBITS_1;
  huart2.Init.Parity = UART_PARITY_NONE;
  huart2.Init.Mode = UART_MODE_TX_RX;
  huart2.Init.HwFlowCtl = UART_HWCONTROL_NONE;
  huart2.Init.OverSampling = UART_OVERSAMPLING_16;
  huart2.Init.OneBitSampling = UART_ONE_BIT_SAMPLE_DISABLE;
  huart2.AdvancedInit.AdvFeatureInit = UART_ADVFEATURE_NO_INIT;
  if (HAL_UART_Init(&huart2) != HAL_OK)
  {
    Error_Handler();
  }

}

static void MX_DMA_Init(void)
{

  /* DMA controller clock enable */
  __HAL_RCC_DMA1_CLK_ENABLE();

  /* DMA interrupt init */
  /* DMA1_Channel1_IRQn interrupt configuration */
  HAL_NVIC_SetPriority(DMA1_Channel1_IRQn, 0, 0);
  HAL_NVIC_EnableIRQ(DMA1_Channel1_IRQn);
  /* DMA1_Channel2_IRQn interrupt configuration */
  HAL_NVIC_SetPriority(DMA1_Channel2_IRQn, 0, 0);
  HAL_NVIC_EnableIRQ(DMA1_Channel2_IRQn);
  /* DMA1_Channel3_IRQn interrupt configuration */
  HAL_NVIC_SetPriority(DMA1_Channel3_IRQn, 0, 0);
  HAL_NVIC_EnableIRQ(DMA1_Channel3_IRQn);
  /* DMA1_Channel5_IRQn interrupt configuration */
  HAL_NVIC_SetPriority(DMA1_Channel5_IRQn, 0, 0);
  HAL_NVIC_EnableIRQ(DMA1_Channel5_IRQn);
  /* DMA1_Channel6_IRQn interrupt configuration */
  HAL_NVIC_SetPriority(DMA1_Channel6_IRQn, 0, 0);
  HAL_NVIC_EnableIRQ(DMA1_Channel6_IRQn);

}

static void MX_GPIO_Init(void)
{
  GPIO_InitTypeDef GPIO_InitStruct = {0};

  /* GPIO Ports Clock Enable */
  __HAL_RCC_GPIOF_CLK_ENABLE();
  __HAL_RCC_GPIOA_CLK_ENABLE();
  __HAL_RCC_GPIOB_CLK_ENABLE();

  /*Configure GPIO pin Output Level */
  HAL_GPIO_WritePin(GPIO_Output_EV_P_GPIO_Port, GPIO_Output_EV_P_Pin, GPIO_PIN_RESET);

  /*Configure GPIO pin Output Level */
  HAL_GPIO_WritePin(GPIOA, GPIO_Output_EV_3_Pin|GPIO_Output_EV_2_Pin|GPIO_Output_EV_1_Pin, GPIO_PIN_RESET);

  /*Configure GPIO pin Output Level */
  HAL_GPIO_WritePin(GPIOB, Built_in_LED_Pin|GPIO_Output_LED_EN_Pin|GPIO_Output_LCD_EN_Pin, GPIO_PIN_RESET);

  /*Configure GPIO pin : GPIO_Output_EV_P_Pin */
  GPIO_InitStruct.Pin = GPIO_Output_EV_P_Pin;
  GPIO_InitStruct.Mode = GPIO_MODE_OUTPUT_PP;
  GPIO_InitStruct.Pull = GPIO_NOPULL;
  GPIO_InitStruct.Speed = GPIO_SPEED_FREQ_LOW;
  HAL_GPIO_Init(GPIO_Output_EV_P_GPIO_Port, &GPIO_InitStruct);

  /*Configure GPIO pin : GPIO_Input_AU_STATUS_Pin */
  GPIO_InitStruct.Pin = GPIO_Input_AU_STATUS_Pin;
  GPIO_InitStruct.Mode = GPIO_MODE_INPUT;
  GPIO_InitStruct.Pull = GPIO_NOPULL;
  HAL_GPIO_Init(GPIO_Input_AU_STATUS_GPIO_Port, &GPIO_InitStruct);

  /*Configure GPIO pins : GPIO_Output_EV_3_Pin GPIO_Output_EV_2_Pin GPIO_Output_EV_1_Pin */
  GPIO_InitStruct.Pin = GPIO_Output_EV_3_Pin|GPIO_Output_EV_2_Pin|GPIO_Output_EV_1_Pin;
  GPIO_InitStruct.Mode = GPIO_MODE_OUTPUT_PP;
  GPIO_InitStruct.Pull = GPIO_NOPULL;
  GPIO_InitStruct.Speed = GPIO_SPEED_FREQ_LOW;
  HAL_GPIO_Init(GPIOA, &GPIO_InitStruct);

  /*Configure GPIO pins : Built_in_LED_Pin GPIO_Output_LED_EN_Pin GPIO_Output_LCD_EN_Pin */
  GPIO_InitStruct.Pin = Built_in_LED_Pin|GPIO_Output_LED_EN_Pin|GPIO_Output_LCD_EN_Pin;
  GPIO_InitStruct.Mode = GPIO_MODE_OUTPUT_PP;
  GPIO_InitStruct.Pull = GPIO_NOPULL;
  GPIO_InitStruct.Speed = GPIO_SPEED_FREQ_LOW;
  HAL_GPIO_Init(GPIOB, &GPIO_InitStruct);

}

/* USER CODE BEGIN 4 */
void HAL_TIM_PeriodElapsedCallback(TIM_HandleTypeDef *htim)
{
	if (htim->Instance == htim6.Instance)
	{
		dshot_write(my_motor_value);
	}
	//on start la tempo si le BAU est enclenche
	if (BAU_tick_enable == 1){
		BAU_tick++;
		// on purge quand on veut purger, 1000 => 1s
		if (BAU_tick > 30000){
			BAU_tick = 0;
			BAU_tick_enable = 0;
			HAL_GPIO_WritePin(GPIOF, GPIO_PIN_0, GPIO_PIN_SET);
		}
	}
}
/* USER CODE END 4 */

void Error_Handler(void)
{
	__disable_irq();
	while (1)
	{
	}
}
